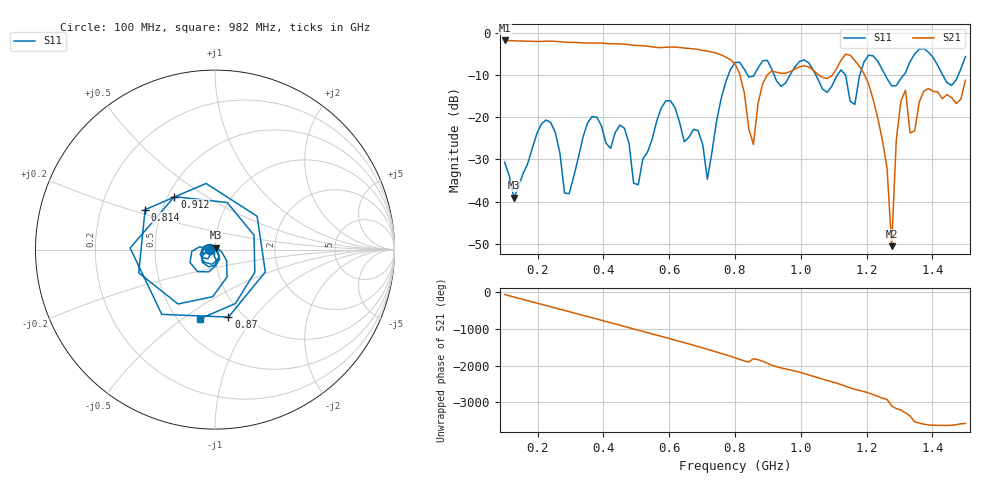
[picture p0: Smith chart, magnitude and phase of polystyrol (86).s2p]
! NanoVNA-App
! Date: 2025-09-25 15:30:33
! Start: 100MHz Stop: 1,5GHz Points: 101
! S-Parameter data: F S11 S21 S12 S22
# Hz S RI R 50
!  Frequency  S11_Real  S11_Imag  S21_Real  S21_Imag  S12_Real  S12_Imag  S22_Real  S22_Imag
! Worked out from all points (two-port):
!   101 points, 100 MHz to 1.5 GHz, reference 50 ohm
!   highest |S21| = -1.80 dB at 100 MHz (marker M1); lowest = -50.6 dB at 1.276 GHz (marker M2)
!   |S21| within 3 dB of the highest: start of sweep to 742.7 MHz
!   lowest |S11| = -39.1 dB at 128 MHz (marker M3), VSWR 1.02, Z = 50.3 + j1.06 ohm
!   |S11| at or under -10 dB: start of sweep to 779.8 MHz; 1.046 GHz to 1.111 GHz (65.86 MHz wide, 6.11 % of centre); 1.136 GHz to 1.179 GHz (43.47 MHz wide, 3.76 % of centre) (the widest 3 of 7)
!   S12 and S22 are empty: the file has one direction only
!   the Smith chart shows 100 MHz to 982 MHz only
!   S11 on the Smith chart (normalised r, x): 100 MHz: 0.94, -0.01; 814 MHz: 0.40, +0.22; 870 MHz: 0.86, -0.75; 912 MHz: 0.54, +0.37; 982 MHz: 0.64, -0.58
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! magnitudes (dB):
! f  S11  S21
! 100 MHz  -30.7  -1.8
! 128 MHz  -39.1  -1.9
! 212 MHz  -21.6  -2.0
! 282 MHz  -38.0  -2.2
! 338 MHz  -24.7  -2.4
! 506 MHz  -36.0  -3.0
! 576 MHz  -17.8  -3.5
! 716 MHz  -34.7  -4.3
! 800 MHz  -7.0  -7.4
! 814 MHz  -7.0  -9.6
! 856 MHz  -10.3  -26.5
! 870 MHz  -8.3  -16.7
! 912 MHz  -8.6  -9.0
! 982 MHz  -8.1  -8.6
! 1.038 GHz  -8.8  -8.9
! 1.164 GHz  -17.0  -6.5
! 1.206 GHz  -5.3  -12.1
! 1.262 GHz  -10.8  -32.1
! 1.276 GHz  -12.6  -50.6
! 1.29 GHz  -12.5  -25.4
! 1.318 GHz  -9.5  -13.6
! 1.5 GHz  -5.7  -11.2
